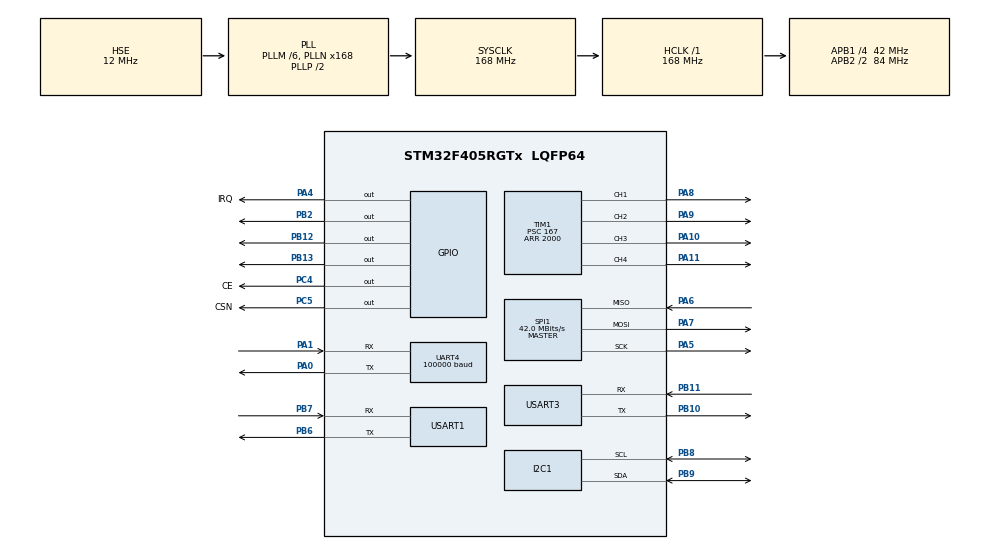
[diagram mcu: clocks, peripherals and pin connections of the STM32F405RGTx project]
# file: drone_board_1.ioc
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FREERTOS.Queues01=myQueue01,16,float,0,Dynamic,NULL,NULL
FREERTOS.Tasks01=defaultTask,0,128,StartDefaultTask,Default,NULL,Dynamic,NULL,NULL;myTask02,-3,128,StartTask02,Default,NULL,Dynamic,NULL,NULL
FREERTOS.configENABLE_FPU=1
I2C1.I2C_Mode=I2C_Fast
Mcu.Family=STM32F4
Mcu.Name=STM32F405RGTx
Mcu.Package=LQFP64
NVIC.PriorityGroup=NVIC_PRIORITYGROUP_4
NVIC.TIM3_IRQn=true\:5\:0\:false\:false\:true\:true\:true\:true
NVIC.UART4_IRQn=true\:5\:0\:false\:false\:true\:true\:true\:true
NVIC.USART1_IRQn=true\:1\:0\:true\:false\:true\:true\:true\:true
NVIC.USART3_IRQn=true\:1\:0\:true\:false\:true\:true\:true\:true
PA0-WKUP.Mode=Asynchronous
PA0-WKUP.Signal=UART4_TX
PA1.Mode=Asynchronous
PA1.Signal=UART4_RX
PA10.Signal=S_TIM1_CH3
PA11.Signal=S_TIM1_CH4
PA13.Mode=Serial_Wire
PA13.Signal=SYS_JTMS-SWDIO
PA14.Mode=Serial_Wire
PA14.Signal=SYS_JTCK-SWCLK
PA4.GPIO_Label=IRQ
PA4.GPIO_Speed=GPIO_SPEED_FREQ_HIGH
PA4.Signal=GPIO_Output
PA5.Mode=Full_Duplex_Master
PA5.Signal=SPI1_SCK
PA6.Mode=Full_Duplex_Master
PA6.Signal=SPI1_MISO
PA7.Mode=Full_Duplex_Master
PA7.Signal=SPI1_MOSI
PA8.Signal=S_TIM1_CH1
PA9.Signal=S_TIM1_CH2
PB10.Mode=Asynchronous
PB10.Signal=USART3_TX
PB11.Mode=Asynchronous
PB11.Signal=USART3_RX
PB12.Signal=GPIO_Output
PB13.Signal=GPIO_Output
PB2.Signal=GPIO_Output
PB6.Mode=Asynchronous
PB6.Signal=USART1_TX
PB7.Mode=Asynchronous
PB7.Signal=USART1_RX
PB8.Mode=I2C
PB8.Signal=I2C1_SCL
PB9.Mode=I2C
PB9.Signal=I2C1_SDA
PC4.GPIO_Label=CE
PC4.GPIO_Speed=GPIO_SPEED_FREQ_HIGH
PC4.Signal=GPIO_Output
PC5.GPIO_Label=CSN
PC5.GPIO_Speed=GPIO_SPEED_FREQ_HIGH
PC5.Signal=GPIO_Output
PH0-OSC_IN.Mode=HSE-External-Oscillator
PH0-OSC_IN.Signal=RCC_OSC_IN
PH1-OSC_OUT.Mode=HSE-External-Oscillator
PH1-OSC_OUT.Signal=RCC_OSC_OUT
ProjectManager.HeapSize=0x200
ProjectManager.StackSize=0x400
ProjectManager.TargetToolchain=STM32CubeIDE
RCC.48MHZClocksFreq_Value=48000000
RCC.AHBFreq_Value=168000000
RCC.APB1CLKDivider=RCC_HCLK_DIV4
RCC.APB1Freq_Value=42000000
RCC.APB1TimFreq_Value=84000000
RCC.APB2CLKDivider=RCC_HCLK_DIV2
RCC.APB2Freq_Value=84000000
RCC.APB2TimFreq_Value=168000000
RCC.CortexFreq_Value=168000000
RCC.HCLKFreq_Value=168000000
RCC.HSE_VALUE=12000000
RCC.HSI_VALUE=16000000
RCC.LSE_VALUE=32768
RCC.PLLM=6
RCC.PLLN=168
RCC.PLLQ=7
RCC.PLLSourceVirtual=RCC_PLLSOURCE_HSE
RCC.SYSCLKFreq_VALUE=168000000
RCC.SYSCLKSource=RCC_SYSCLKSOURCE_PLLCLK
RCC.VCOOutputFreq_Value=336000000
SH.S_TIM1_CH1.0=TIM1_CH1,PWM Generation1 CH1
SH.S_TIM1_CH2.0=TIM1_CH2,PWM Generation2 CH2
SH.S_TIM1_CH3.0=TIM1_CH3,PWM Generation3 CH3
SH.S_TIM1_CH4.0=TIM1_CH4,PWM Generation4 CH4
SPI1.CalculateBaudRate=42.0 MBits/s
SPI1.Direction=SPI_DIRECTION_2LINES
SPI1.Mode=SPI_MODE_MASTER
SPI1.VirtualType=VM_MASTER
TIM1.Channel-PWM\ Generation1\ CH1=TIM_CHANNEL_1
TIM1.Channel-PWM\ Generation2\ CH2=TIM_CHANNEL_2
TIM1.Channel-PWM\ Generation3\ CH3=TIM_CHANNEL_3
TIM1.Channel-PWM\ Generation4\ CH4=TIM_CHANNEL_4
TIM1.Period=2000
TIM1.Prescaler=167
TIM3.Period=9999
TIM3.Prescaler=167
TIM4.Period=10000
TIM4.Prescaler=167
UART4.BaudRate=100000
UART4.Parity=PARITY_EVEN
UART4.StopBits=UART_STOPBITS_2
UART4.VirtualMode=Asynchronous
USART1.VirtualMode=VM_ASYNC
USART3.Parity=PARITY_NONE
USART3.StopBits=STOPBITS_1
USART3.VirtualMode=VM_ASYNC
VP_CRC_VS_CRC.Mode=CRC_Activate
VP_FREERTOS_VS_CMSIS_V1.Mode=CMSIS_V1
VP_TIM3_VS_ClockSourceINT.Mode=Internal
VP_TIM4_VS_ClockSourceINT.Mode=Internal
board=custom

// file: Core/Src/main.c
/* USER CODE BEGIN Header */
/**
  ******************************************************************************
  * @file           : main.c
  * @brief          : Main program body
  ******************************************************************************
  * @attention
  *
  * <h2><center>&copy; Copyright (c) 2019 STMicroelectronics.
  * All rights reserved.</center></h2>
  *
  * This software component is licensed by ST under BSD 3-Clause license,
  * the "License"; You may not use this file except in compliance with the
  * License. You may obtain a copy of the License at:
  *                        opensource.org/licenses/BSD-3-Clause
  *
  ******************************************************************************
  */
/* USER CODE END Header */

#include "main.h"
#include "cmsis_os.h"

/* USER CODE BEGIN Includes */
//#include "mpu9250.h"
#include "nrf24.h"
#include "nrf24_hal.h"
#include "bmp180.h"
#include "PID.h"
#include "sbus.h"
#include "matrix.h"
#include "mpu9250.h"
/* USER CODE END Includes */

/* USER CODE BEGIN PTD */
volatile int i;
osEvent message_event;
/* USER CODE END PTD */

CRC_HandleTypeDef hcrc;

I2C_HandleTypeDef hi2c1;

SPI_HandleTypeDef hspi1;

TIM_HandleTypeDef htim1;
TIM_HandleTypeDef htim3;
TIM_HandleTypeDef htim4;

UART_HandleTypeDef huart4;
UART_HandleTypeDef huart1;
UART_HandleTypeDef huart3;

osThreadId defaultTaskHandle;
osThreadId myTask02Handle;
osMessageQId myQueue01Handle;

void SystemClock_Config(void);
static void MX_GPIO_Init(void);
static void MX_TIM1_Init(void);
static void MX_I2C1_Init(void);
static void MX_USART3_UART_Init(void);
static void MX_TIM4_Init(void);
static void MX_SPI1_Init(void);
static void MX_UART4_Init(void);
static void MX_CRC_Init(void);
static void MX_TIM3_Init(void);
static void MX_USART1_UART_Init(void);
void StartDefaultTask(void const * argument);
void StartTask02(void const * argument);

/* USER CODE BEGIN 0 */
uint8_t Rx_data[2];
uint8_t Rx_buffer[6];
uint16_t esc_value[4];
int start, end, t_sample;
void init_nRF24(){

      /* Infinite loop */

}
void init_ESC(){
	  HAL_TIM_Base_Start(&htim4);
	  HAL_TIM_PWM_Start(&htim1,TIM_CHANNEL_1);
	  HAL_TIM_Base_Start_IT(&htim3);
	    HAL_TIM_PWM_Start(&htim1,TIM_CHANNEL_2);
	    HAL_TIM_PWM_Start(&htim1,TIM_CHANNEL_3);
	    HAL_TIM_PWM_Start(&htim1,TIM_CHANNEL_4);
	    __HAL_TIM_SET_COMPARE(&htim1, TIM_CHANNEL_1, 1000);
	    __HAL_TIM_SET_COMPARE(&htim1, TIM_CHANNEL_2, 1000);
	    __HAL_TIM_SET_COMPARE(&htim1, TIM_CHANNEL_3, 1000);
	    __HAL_TIM_SET_COMPARE(&htim1, TIM_CHANNEL_4, 1000);
	    esc_value1 = 1000;
	    esc_value2 = 1000;
	    esc_value3 = 1000;
	    esc_value4 = 1000;

	    HAL_Delay(3000);
}

void set_ESC(){
	    __HAL_TIM_SET_COMPARE(&htim1, TIM_CHANNEL_1,esc_value1);
	    __HAL_TIM_SET_COMPARE(&htim1, TIM_CHANNEL_2, esc_value2);
	    __HAL_TIM_SET_COMPARE(&htim1, TIM_CHANNEL_3,esc_value3);
	    __HAL_TIM_SET_COMPARE(&htim1, TIM_CHANNEL_4,esc_value4);
}

typedef struct
{
  float length;
  uint32_t width;
  uint32_t height;
  uint32_t weight;
} packaget_t;
/* USER CODE END 0 */

int main(void)
{

  /* MCU Configuration--------------------------------------------------------*/

  /* Reset of all peripherals, Initializes the Flash interface and the Systick. */
  HAL_Init();

  /* Configure the system clock */
  SystemClock_Config();

  /* Initialize all configured peripherals */
  MX_GPIO_Init();
  MX_TIM1_Init();
  MX_I2C1_Init();
  MX_USART3_UART_Init();
  MX_TIM4_Init();
  MX_SPI1_Init();
  MX_UART4_Init();
  MX_CRC_Init();
  MX_TIM3_Init();
  MX_USART1_UART_Init();
  /* USER CODE BEGIN 2 */

  HAL_UART_Receive_IT(&huart3, &Rx_data, 1);
  HAL_UART_Receive_IT(&huart1, (uint8_t *) Rx_data, 1);
  init_MPU();
//   initBMP();
   HAL_Delay(100);

//

   calibration_IMU();
   init_ESC();
  /* USER CODE END 2 */

  /* Create the queue(s) */
  /* definition and creation of myQueue01 */
//  osMessageQDef(myQueue01, 16, float);
//
//
//
//

  osMailQDef(myQueue01, 16, packaget_t);
  myQueue01Handle = osMailCreate(osMailQ(myQueue01), NULL);

  /* Create the thread(s) */
  /* definition and creation of defaultTask */
  osThreadDef(defaultTask, StartDefaultTask, osPriorityNormal, 0, 128);
  defaultTaskHandle = osThreadCreate(osThread(defaultTask), NULL);

  /* definition and creation of myTask02 */
  osThreadDef(myTask02, StartTask02, osPriorityIdle, 0, 128);
  myTask02Handle = osThreadCreate(osThread(myTask02), NULL);

  /* Start scheduler */
  osKernelStart();

  /* We should never get here as control is now taken by the scheduler */
  /* Infinite loop */
  while (1)
  {

    /* USER CODE BEGIN 3 */

//  Mat a = init_mat(2,2);
//	   a.data[0] = 2;
//	   a.data[1] = 4;
//	   a.data[2] = 4;
//	   a.data[3] = 5;
//
//	   Mat b = inverse(a);

//

  }
  /* USER CODE END 3 */
}

void SystemClock_Config(void)
{
  RCC_OscInitTypeDef RCC_OscInitStruct = {0};
  RCC_ClkInitTypeDef RCC_ClkInitStruct = {0};

  /** Configure the main internal regulator output voltage
  */
  __HAL_RCC_PWR_CLK_ENABLE();
  __HAL_PWR_VOLTAGESCALING_CONFIG(PWR_REGULATOR_VOLTAGE_SCALE1);
  /** Initializes the CPU, AHB and APB busses clocks
  */
  RCC_OscInitStruct.OscillatorType = RCC_OSCILLATORTYPE_HSE;
  RCC_OscInitStruct.HSEState = RCC_HSE_ON;
  RCC_OscInitStruct.PLL.PLLState = RCC_PLL_ON;
  RCC_OscInitStruct.PLL.PLLSource = RCC_PLLSOURCE_HSE;
  RCC_OscInitStruct.PLL.PLLM = 6;
  RCC_OscInitStruct.PLL.PLLN = 168;
  RCC_OscInitStruct.PLL.PLLP = RCC_PLLP_DIV2;
  RCC_OscInitStruct.PLL.PLLQ = 7;
  if (HAL_RCC_OscConfig(&RCC_OscInitStruct) != HAL_OK)
  {
    Error_Handler();
  }
  /** Initializes the CPU, AHB and APB busses clocks
  */
  RCC_ClkInitStruct.ClockType = RCC_CLOCKTYPE_HCLK|RCC_CLOCKTYPE_SYSCLK
                              |RCC_CLOCKTYPE_PCLK1|RCC_CLOCKTYPE_PCLK2;
  RCC_ClkInitStruct.SYSCLKSource = RCC_SYSCLKSOURCE_PLLCLK;
  RCC_ClkInitStruct.AHBCLKDivider = RCC_SYSCLK_DIV1;
  RCC_ClkInitStruct.APB1CLKDivider = RCC_HCLK_DIV4;
  RCC_ClkInitStruct.APB2CLKDivider = RCC_HCLK_DIV2;

  if (HAL_RCC_ClockConfig(&RCC_ClkInitStruct, FLASH_LATENCY_5) != HAL_OK)
  {
    Error_Handler();
  }
}

static void MX_CRC_Init(void)
{

  hcrc.Instance = CRC;
  if (HAL_CRC_Init(&hcrc) != HAL_OK)
  {
    Error_Handler();
  }

}

static void MX_I2C1_Init(void)
{

  hi2c1.Instance = I2C1;
  hi2c1.Init.ClockSpeed = 400000;
  hi2c1.Init.DutyCycle = I2C_DUTYCYCLE_2;
  hi2c1.Init.OwnAddress1 = 0;
  hi2c1.Init.AddressingMode = I2C_ADDRESSINGMODE_7BIT;
  hi2c1.Init.DualAddressMode = I2C_DUALADDRESS_DISABLE;
  hi2c1.Init.OwnAddress2 = 0;
  hi2c1.Init.GeneralCallMode = I2C_GENERALCALL_DISABLE;
  hi2c1.Init.NoStretchMode = I2C_NOSTRETCH_DISABLE;
  if (HAL_I2C_Init(&hi2c1) != HAL_OK)
  {
    Error_Handler();
  }

}

static void MX_SPI1_Init(void)
{

  /* SPI1 parameter configuration*/
  hspi1.Instance = SPI1;
  hspi1.Init.Mode = SPI_MODE_MASTER;
  hspi1.Init.Direction = SPI_DIRECTION_2LINES;
  hspi1.Init.DataSize = SPI_DATASIZE_8BIT;
  hspi1.Init.CLKPolarity = SPI_POLARITY_LOW;
  hspi1.Init.CLKPhase = SPI_PHASE_1EDGE;
  hspi1.Init.NSS = SPI_NSS_SOFT;
  hspi1.Init.BaudRatePrescaler = SPI_BAUDRATEPRESCALER_2;
  hspi1.Init.FirstBit = SPI_FIRSTBIT_MSB;
  hspi1.Init.TIMode = SPI_TIMODE_DISABLE;
  hspi1.Init.CRCCalculation = SPI_CRCCALCULATION_DISABLE;
  hspi1.Init.CRCPolynomial = 10;
  if (HAL_SPI_Init(&hspi1) != HAL_OK)
  {
    Error_Handler();
  }

}

static void MX_TIM1_Init(void)
{

  TIM_MasterConfigTypeDef sMasterConfig = {0};
  TIM_OC_InitTypeDef sConfigOC = {0};
  TIM_BreakDeadTimeConfigTypeDef sBreakDeadTimeConfig = {0};

  htim1.Instance = TIM1;
  htim1.Init.Prescaler = 167;
  htim1.Init.CounterMode = TIM_COUNTERMODE_UP;
  htim1.Init.Period = 2000;
  htim1.Init.ClockDivision = TIM_CLOCKDIVISION_DIV1;
  htim1.Init.RepetitionCounter = 0;
  htim1.Init.AutoReloadPreload = TIM_AUTORELOAD_PRELOAD_DISABLE;
  if (HAL_TIM_PWM_Init(&htim1) != HAL_OK)
  {
    Error_Handler();
  }
  sMasterConfig.MasterOutputTrigger = TIM_TRGO_RESET;
  sMasterConfig.MasterSlaveMode = TIM_MASTERSLAVEMODE_DISABLE;
  if (HAL_TIMEx_MasterConfigSynchronization(&htim1, &sMasterConfig) != HAL_OK)
  {
    Error_Handler();
  }
  sConfigOC.OCMode = TIM_OCMODE_PWM1;
  sConfigOC.Pulse = 0;
  sConfigOC.OCPolarity = TIM_OCPOLARITY_HIGH;
  sConfigOC.OCNPolarity = TIM_OCNPOLARITY_HIGH;
  sConfigOC.OCFastMode = TIM_OCFAST_DISABLE;
  sConfigOC.OCIdleState = TIM_OCIDLESTATE_RESET;
  sConfigOC.OCNIdleState = TIM_OCNIDLESTATE_RESET;
  if (HAL_TIM_PWM_ConfigChannel(&htim1, &sConfigOC, TIM_CHANNEL_1) != HAL_OK)
  {
    Error_Handler();
  }
  if (HAL_TIM_PWM_ConfigChannel(&htim1, &sConfigOC, TIM_CHANNEL_2) != HAL_OK)
  {
    Error_Handler();
  }
  if (HAL_TIM_PWM_ConfigChannel(&htim1, &sConfigOC, TIM_CHANNEL_3) != HAL_OK)
  {
    Error_Handler();
  }
  if (HAL_TIM_PWM_ConfigChannel(&htim1, &sConfigOC, TIM_CHANNEL_4) != HAL_OK)
  {
    Error_Handler();
  }
  sBreakDeadTimeConfig.OffStateRunMode = TIM_OSSR_DISABLE;
  sBreakDeadTimeConfig.OffStateIDLEMode = TIM_OSSI_DISABLE;
  sBreakDeadTimeConfig.LockLevel = TIM_LOCKLEVEL_OFF;
  sBreakDeadTimeConfig.DeadTime = 0;
  sBreakDeadTimeConfig.BreakState = TIM_BREAK_DISABLE;
  sBreakDeadTimeConfig.BreakPolarity = TIM_BREAKPOLARITY_HIGH;
  sBreakDeadTimeConfig.AutomaticOutput = TIM_AUTOMATICOUTPUT_DISABLE;
  if (HAL_TIMEx_ConfigBreakDeadTime(&htim1, &sBreakDeadTimeConfig) != HAL_OK)
  {
    Error_Handler();
  }
  HAL_TIM_MspPostInit(&htim1);

}

static void MX_TIM3_Init(void)
{

  TIM_ClockConfigTypeDef sClockSourceConfig = {0};
  TIM_MasterConfigTypeDef sMasterConfig = {0};

  htim3.Instance = TIM3;
  htim3.Init.Prescaler = 167;
  htim3.Init.CounterMode = TIM_COUNTERMODE_UP;
  htim3.Init.Period = 9999;
  htim3.Init.ClockDivision = TIM_CLOCKDIVISION_DIV1;
  htim3.Init.AutoReloadPreload = TIM_AUTORELOAD_PRELOAD_DISABLE;
  if (HAL_TIM_Base_Init(&htim3) != HAL_OK)
  {
    Error_Handler();
  }
  sClockSourceConfig.ClockSource = TIM_CLOCKSOURCE_INTERNAL;
  if (HAL_TIM_ConfigClockSource(&htim3, &sClockSourceConfig) != HAL_OK)
  {
    Error_Handler();
  }
  sMasterConfig.MasterOutputTrigger = TIM_TRGO_RESET;
  sMasterConfig.MasterSlaveMode = TIM_MASTERSLAVEMODE_DISABLE;
  if (HAL_TIMEx_MasterConfigSynchronization(&htim3, &sMasterConfig) != HAL_OK)
  {
    Error_Handler();
  }

}

static void MX_TIM4_Init(void)
{

  TIM_ClockConfigTypeDef sClockSourceConfig = {0};
  TIM_MasterConfigTypeDef sMasterConfig = {0};

  htim4.Instance = TIM4;
  htim4.Init.Prescaler = 167;
  htim4.Init.CounterMode = TIM_COUNTERMODE_UP;
  htim4.Init.Period = 10000;
  htim4.Init.ClockDivision = TIM_CLOCKDIVISION_DIV1;
  htim4.Init.AutoReloadPreload = TIM_AUTORELOAD_PRELOAD_DISABLE;
  if (HAL_TIM_Base_Init(&htim4) != HAL_OK)
  {
    Error_Handler();
  }
  sClockSourceConfig.ClockSource = TIM_CLOCKSOURCE_INTERNAL;
  if (HAL_TIM_ConfigClockSource(&htim4, &sClockSourceConfig) != HAL_OK)
  {
    Error_Handler();
  }
  sMasterConfig.MasterOutputTrigger = TIM_TRGO_RESET;
  sMasterConfig.MasterSlaveMode = TIM_MASTERSLAVEMODE_DISABLE;
  if (HAL_TIMEx_MasterConfigSynchronization(&htim4, &sMasterConfig) != HAL_OK)
  {
    Error_Handler();
  }

}

static void MX_UART4_Init(void)
{

  huart4.Instance = UART4;
  huart4.Init.BaudRate = 100000;
  huart4.Init.WordLength = UART_WORDLENGTH_8B;
  huart4.Init.StopBits = UART_STOPBITS_2;
  huart4.Init.Parity = UART_PARITY_EVEN;
  huart4.Init.Mode = UART_MODE_TX_RX;
  huart4.Init.HwFlowCtl = UART_HWCONTROL_NONE;
  huart4.Init.OverSampling = UART_OVERSAMPLING_16;
  if (HAL_UART_Init(&huart4) != HAL_OK)
  {
    Error_Handler();
  }

}

static void MX_USART1_UART_Init(void)
{

  huart1.Instance = USART1;
  huart1.Init.BaudRate = 115200;
  huart1.Init.WordLength = UART_WORDLENGTH_8B;
  huart1.Init.StopBits = UART_STOPBITS_1;
  huart1.Init.Parity = UART_PARITY_NONE;
  huart1.Init.Mode = UART_MODE_TX_RX;
  huart1.Init.HwFlowCtl = UART_HWCONTROL_NONE;
  huart1.Init.OverSampling = UART_OVERSAMPLING_16;
  if (HAL_UART_Init(&huart1) != HAL_OK)
  {
    Error_Handler();
  }

}

static void MX_USART3_UART_Init(void)
{

  huart3.Instance = USART3;
  huart3.Init.BaudRate = 115200;
  huart3.Init.WordLength = UART_WORDLENGTH_8B;
  huart3.Init.StopBits = UART_STOPBITS_1;
  huart3.Init.Parity = UART_PARITY_NONE;
  huart3.Init.Mode = UART_MODE_TX_RX;
  huart3.Init.HwFlowCtl = UART_HWCONTROL_NONE;
  huart3.Init.OverSampling = UART_OVERSAMPLING_16;
  if (HAL_UART_Init(&huart3) != HAL_OK)
  {
    Error_Handler();
  }

}

static void MX_GPIO_Init(void)
{
  GPIO_InitTypeDef GPIO_InitStruct = {0};

  /* GPIO Ports Clock Enable */
  __HAL_RCC_GPIOH_CLK_ENABLE();
  __HAL_RCC_GPIOA_CLK_ENABLE();
  __HAL_RCC_GPIOC_CLK_ENABLE();
  __HAL_RCC_GPIOB_CLK_ENABLE();

  /*Configure GPIO pin Output Level */
  HAL_GPIO_WritePin(IRQ_GPIO_Port, IRQ_Pin, GPIO_PIN_RESET);

  /*Configure GPIO pin Output Level */
  HAL_GPIO_WritePin(GPIOC, CE_Pin|CSN_Pin, GPIO_PIN_RESET);

  /*Configure GPIO pin Output Level */
  HAL_GPIO_WritePin(GPIOB, GPIO_PIN_2|GPIO_PIN_12|GPIO_PIN_13, GPIO_PIN_RESET);

  /*Configure GPIO pin : IRQ_Pin */
  GPIO_InitStruct.Pin = IRQ_Pin;
  GPIO_InitStruct.Mode = GPIO_MODE_OUTPUT_PP;
  GPIO_InitStruct.Pull = GPIO_NOPULL;
  GPIO_InitStruct.Speed = GPIO_SPEED_FREQ_HIGH;
  HAL_GPIO_Init(IRQ_GPIO_Port, &GPIO_InitStruct);

  /*Configure GPIO pins : CE_Pin CSN_Pin */
  GPIO_InitStruct.Pin = CE_Pin|CSN_Pin;
  GPIO_InitStruct.Mode = GPIO_MODE_OUTPUT_PP;
  GPIO_InitStruct.Pull = GPIO_NOPULL;
  GPIO_InitStruct.Speed = GPIO_SPEED_FREQ_HIGH;
  HAL_GPIO_Init(GPIOC, &GPIO_InitStruct);

  /*Configure GPIO pins : PB2 PB12 PB13 */
  GPIO_InitStruct.Pin = GPIO_PIN_2|GPIO_PIN_12|GPIO_PIN_13;
  GPIO_InitStruct.Mode = GPIO_MODE_OUTPUT_PP;
  GPIO_InitStruct.Pull = GPIO_NOPULL;
  GPIO_InitStruct.Speed = GPIO_SPEED_FREQ_LOW;
  HAL_GPIO_Init(GPIOB, &GPIO_InitStruct);

}

/* USER CODE BEGIN 4 */
void HAL_UART_RxCpltCallback(UART_HandleTypeDef *huart)
{
	HAL_GPIO_TogglePin(GPIOB, GPIO_PIN_12);
	if (huart->Instance == USART3)  //current UART
	{
		if(Rx_data[0] == 's'){
			i = 0;
             for(int count =0; count< 6; count++)
            	 Rx_buffer[count] = 0x00;
		}
		else{
			if(Rx_data[0] != 'e'){
			 Rx_buffer[i] = Rx_data[0];
			 i++;
//			 HAL_UART_Receive_IT(&huart3, (uint8_t *) Rx_data, 1);

			}
			else{
				sbus_decode(Rx_buffer);
                Rx_data[0] = 0;
//				HAL_UART_Receive_IT(&huart3, (uint8_t *) Rx_data, 1);
			}
		}
	}
	if (huart->Instance == USART1)  //current UART
	{
		if(Rx_data[0] == 's'){
			i = 0;
             for(int count =0; count< 6; count++)
            	 Rx_buffer[count] = 0x00;
		}
		else{
			if(Rx_data[0] != 'e'){
			 Rx_buffer[i] = Rx_data[0];
			 i++;
//			 HAL_UART_Receive_IT(&huart3, (uint8_t *) Rx_data, 1);

			}
			else{
				sbus_decode(Rx_buffer);
                Rx_data[0] = 0;
//				HAL_UART_Receive_IT(&huart3, (uint8_t *) Rx_data, 1);
			}
		}
	}
	 HAL_UART_Receive_IT(&huart1, (uint8_t *) Rx_data, 1);
	 HAL_UART_Receive_IT(&huart3, (uint8_t *) Rx_data, 1);
}

void HAL_TIM_PeriodElapsedCallback(TIM_HandleTypeDef *htim)
{
	if(htim->Instance == TIM3)
	{
		print_raw(0);
	}
}
/* USER CODE END 4 */

void StartDefaultTask(void const * argument)
{
  /* USER CODE BEGIN 5 */
  /* Infinite loop */
  for(;;)
  {

      uint8_t temp;
	  temp = process_MPU();
	  packaget_t *data = osMailAlloc(myQueue01Handle, osWaitForever);
	   data->length = Acc_x;
	   data->width = 20;
	   data->height = 5;
	   data->weight = 10;
	   osMailPut(myQueue01Handle, data);
      osDelay(1);
  }
  /* USER CODE END 5 */
}

void StartTask02(void const * argument)
{
  /* USER CODE BEGIN StartTask02 */
  /* Infinite loop */
  for(;;)
  {
	  osEvent mail_event = osMailGet(myQueue01Handle, 0);
	  packaget_t *data = mail_event.value.p;
	  //Use received data, using data->height, data->weight, etc.
	  osMailFree(myQueue01Handle, data);
    osDelay(10);
  }
  /* USER CODE END StartTask02 */
}

void Error_Handler(void)
{
}

/************************ (C) COPYRIGHT STMicroelectronics *****END OF FILE****/
